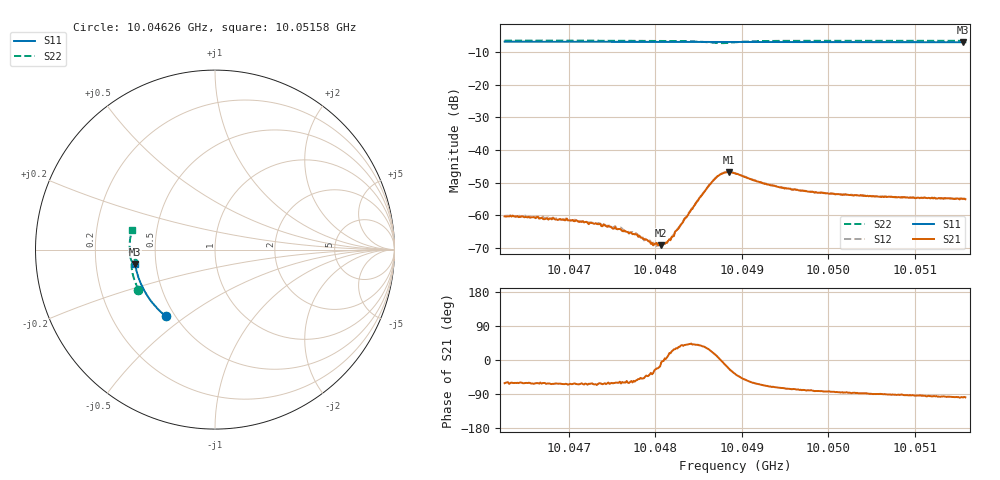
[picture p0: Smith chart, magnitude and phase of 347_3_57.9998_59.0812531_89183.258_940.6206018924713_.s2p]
#  HZ  S  RI  R  50.00
! Rohde & Schwarz Vector Network Analyzer
! Rohde-Schwarz,ZNB20-2Port,1311601062101988,3.16
! Created: UTC 3/21/2024, 1:05:52 AM
! freq[Hz]  re:S11  im:S11  re:S21  im:S21  re:S12  im:S12  re:S22  im:S22
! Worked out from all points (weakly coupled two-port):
!   401 points, 10.04626 GHz to 10.05158 GHz, reference 50 ohm
!   highest |S21| = -46.75 dB at 10.04886 GHz (marker M1); lowest = -69.3 dB at 10.04807 GHz (marker M2)
!   lowest |S11| = -6.9 dB at 10.05156 GHz (marker M3), VSWR 2.65, Z = 19 - j3.79 ohm
!   |S11| at or under -10 dB: nowhere
!   |S22| runs from -7.2 to -6.4 dB; largest |S21 - S12| = 0.00035
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1.0046262e10  -0.2725 -0.3723  0.00046 -0.000838  0.00055 -0.000808  -0.4268 -0.2225
1.0046767e10  -0.2979 -0.3507  0.0004 -0.000753  0.000504 -0.000776  -0.4405 -0.1916
1.0047153e10  -0.3162 -0.3331  0.000375 -0.000689  0.000403 -0.000699  -0.4497 -0.1669
1.0047339e10  -0.3247 -0.3242  0.000323 -0.00065  0.000389 -0.000649  -0.4534 -0.1547
1.0047592e10  -0.3361 -0.312  0.000331 -0.000516  0.000348 -0.000537  -0.4581 -0.1378
1.0047792e10  -0.3447 -0.302  0.000305 -0.000402  0.000341 -0.000376  -0.4612 -0.1236
1.0047898e10  -0.349 -0.2963  0.000319 -0.000277  0.000311 -0.000259  -0.4626 -0.1156
1.0047965e10  -0.3517 -0.2929  0.000294 -0.000227  0.000321 -0.000182  -0.4633 -0.1108
1.0048044e10  -0.3548 -0.2887  0.000324 -0.000113  0.000341 -7.36e-05  -0.4639 -0.1045
1.0048071e10  -0.356 -0.2873  0.00034 -3.58e-05  0.000351 -1.24e-05  -0.4642 -0.1026
1.0048124e10  -0.3582 -0.2846  0.000376 2.05e-05  0.000378 4.19e-05  -0.4643 -0.0983
1.0048191e10  -0.3606 -0.2811  0.000425 0.000177  0.000408 0.000203  -0.4646 -0.0929
1.0048497e10  -0.3722 -0.2646  0.00129 0.00108  0.00127 0.00118  -0.458 -0.0654
1.004867e10  -0.3782 -0.2548  0.00318 0.0011  0.00315 0.00133  -0.441 -0.0566
1.0048763e10  -0.3813 -0.2498  0.00428 -0.000125  0.0043 0.000168  -0.4328 -0.0638
1.0048856e10  -0.3845 -0.2448  0.00423 -0.00181  0.00436 -0.00156  -0.4366 -0.0741
1.0048923e10  -0.3867 -0.2411  0.00354 -0.00259  0.00372 -0.00241  -0.4445 -0.0766
1.0049322e10  -0.3996 -0.2182  0.000997 -0.00273  0.00118 -0.00272  -0.4708 -0.0484
1.0049814e10  -0.4134 -0.1889  0.000367 -0.00227  0.000492 -0.00223  -0.4762 -0.0104
1.0050706e10  -0.433 -0.1339  -2.73e-05 -0.00192  6.53e-05 -0.00192  -0.474 0.0513
1.0051557e10  -0.4448 -0.0794  -0.000283 -0.00176  -0.000165 -0.00175  -0.4641 0.1073
1.0051584e10  -0.4452 -0.0776  -0.000262 -0.00173  -0.000148 -0.00178  -0.4636 0.109
